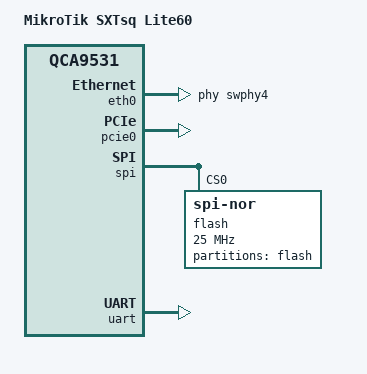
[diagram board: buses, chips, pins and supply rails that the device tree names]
// SPDX-License-Identifier: GPL-2.0-or-later OR MIT
/dts-v1/;

#include <dt-bindings/gpio/gpio.h>
#include <dt-bindings/input/input.h>
#include <dt-bindings/interrupt-controller/irq.h>

#include "qca953x.dtsi"

/ {
	model = "MikroTik SXTsq Lite60";
	compatible = "mikrotik,sxtsq_lite60", "qca,qca9531";

	chosen {
		bootargs = "console=ttyS0,115200n8 wil6210.dyndbg=+p";
	};
};

&eth0 {
	status = "okay";

	phy-handle = <&swphy4>;
//	mtd-mac-address = <&art 0x0>;
};

&eth1 {
//	mtd-mac-address = <&art 0x6>;
};

&pcie0 {
	status = "okay";
};

&spi {
	status = "okay";

	num-cs = <1>;

	flash@0 {
		compatible = "jedec,spi-nor";
		reg = <0>;
		spi-max-frequency = <25000000>;

		partitions {
			compatible = "fixed-partitions";
			#address-cells = <1>;
			#size-cells = <1>;

			partition@0 {
				label = "flash";
				reg = <0x000000 0x1000000>;
				read-only;
			};
		};
	};
};

&uart {
	status = "okay";
/*
	wifi@0,0 {
		compatible = "atheros,wil6210", "pcie-device";
		interrupt-parent = <&gpio>;
		interrupts = <4 IRQ_TYPE_LEVEL_HIGH>;
	};
*/
};
